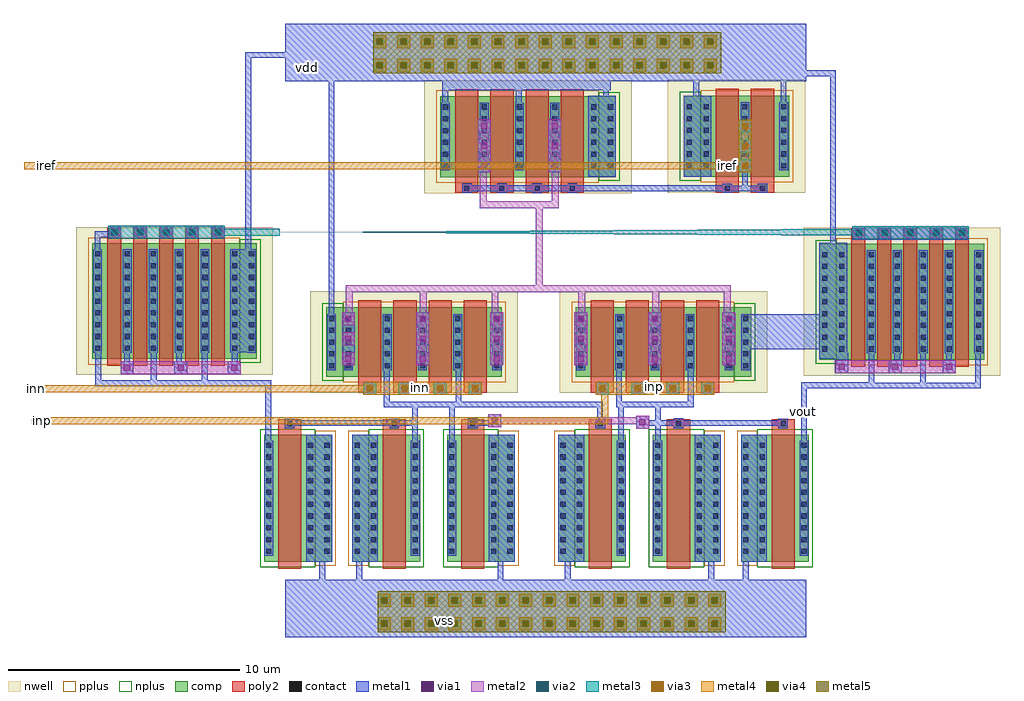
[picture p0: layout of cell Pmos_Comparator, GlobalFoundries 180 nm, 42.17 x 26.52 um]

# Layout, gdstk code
from math import pi, radians
import gdstk
lib = gdstk.Library(unit=1e-6, precision=1e-09)
def R(c, l, rs):  # rectangles x0, y0, x1, y1
    for r in rs: c.add(gdstk.rectangle(r[:2], r[2:], *l))
def A(c, l, x, y, w, h, nx, ny, dx, dy):  # array of equal rectangles
    R(c, l, [(x+i*dx, y+j*dy, x+i*dx+w, y+j*dy+h) for i in range(nx) for j in range(ny)])
nwell = (21, 0)
comp = (22, 0)
poly2 = (30, 0)
pplus = (31, 0)
nplus = (32, 0)
contact = (33, 0)
metal1 = (34, 0)
via1 = (35, 0)
metal2 = (36, 0)
via2 = (38, 0)
via3 = (40, 0)
via4 = (41, 0)
metal3 = (42, 0)
metal4 = (46, 0)
metal5 = (81, 0)

pfet_2 = lib.new_cell('pfet$2')
R(pfet_2, nwell, [(-1.15,-0.69,7.82,3.69)])
R(pfet_2, comp, [(-0.46,0,0,3), (0,0,5.94,3), (5.94,0,6.4,3), (6.4,0,7.13,3)])
A(pfet_2, poly2, 0.19, -0.3, 1, 3.6, 4, 1, 1.52, 0)
A(pfet_2, poly2, 0.19, 3.3, 1, 0.38, 4, 1, 1.52, 0)
R(pfet_2, pplus, [(-0.63,-0.24,6.4,3.24)])
R(pfet_2, nplus, [(6.4,-0.17,7.3,3.17)])
A(pfet_2, contact, -0.34, 0.37, 0.22, 0.22, 1, 5, 0, 0.51)
A(pfet_2, contact, 1.34, 0.37, 0.22, 0.22, 3, 5, 1.52, 0.51)
A(pfet_2, contact, 6.06, 0.37, 0.22, 0.22, 1, 5, 0, 0.51)
A(pfet_2, contact, 6.79, 0.37, 0.22, 0.22, 1, 5, 0, 0.51)
A(pfet_2, contact, 0.58, 3.38, 0.22, 0.22, 4, 1, 1.52, 0)
A(pfet_2, metal1, 1.26, 0.29, 0.38, 2.42, 3, 1, 1.52, 0)
A(pfet_2, metal1, 0.5, 3.299, 0.38, 0.382, 4, 1, 1.52, 0)
R(pfet_2, metal1, [(-0.42,0.29,-0.04,2.71), (5.98,0.29,6.36,2.71), (6.71,0.29,7.09,2.71)])

nfet = lib.new_cell('nfet')
R(nfet, comp, [(-0.42,0,0,5.5), (0,0,1.38,5.5), (1.38,0,1.8,5.5), (1.8,0,2.51,5.5)])
R(nfet, poly2, [(0.19,-0.3,1.19,5.8), (0.19,5.8,1.19,6.16)])
R(nfet, pplus, [(1.8,-0.17,2.68,5.67)])
R(nfet, nplus, [(-0.59,-0.24,1.8,5.74)])
A(nfet, contact, -0.32, 0.345, 0.22, 0.22, 1, 10, 0, 0.51)
A(nfet, contact, 1.48, 0.345, 0.22, 0.22, 1, 10, 0, 0.51)
A(nfet, contact, 2.19, 0.345, 0.22, 0.22, 1, 10, 0, 0.51)
R(nfet, contact, [(0.58,5.87,0.8,6.09)])
R(nfet, metal1, [(-0.4,0.265,-0.02,5.235), (1.4,0.265,1.78,5.235), (2.11,0.265,2.49,5.235), (0.5,5.789,0.88,6.171)])

via_dev = lib.new_cell('via_dev')
R(via_dev, metal1, [(0,0,0.56,0.56)])
R(via_dev, via1, [(0.15,0.15,0.41,0.41)])
R(via_dev, metal2, [(0,0,0.56,0.56)])

pfet_5 = lib.new_cell('pfet$5')
R(pfet_5, nwell, [(-1.15,-0.69,7.34,5.69)])
R(pfet_5, comp, [(-0.46,0,0,5), (0,0,5.46,5), (5.46,0,5.92,5), (5.92,0,6.65,5)])
A(pfet_5, poly2, 0.19, -0.3, 0.6, 5.6, 5, 1, 1.12, 0)
A(pfet_5, poly2, 0.19, 5.3, 0.6, 0.38, 5, 1, 1.12, 0)
R(pfet_5, pplus, [(-0.63,-0.24,5.92,5.24)])
R(pfet_5, nplus, [(5.92,-0.17,6.82,5.17)])
A(pfet_5, contact, -0.34, 0.35, 0.22, 0.22, 1, 9, 0, 0.51)
A(pfet_5, contact, 0.94, 0.35, 0.22, 0.22, 4, 9, 1.12, 0.51)
A(pfet_5, contact, 5.58, 0.35, 0.22, 0.22, 1, 9, 0, 0.51)
A(pfet_5, contact, 6.31, 0.35, 0.22, 0.22, 1, 9, 0, 0.51)
A(pfet_5, contact, 0.38, 5.38, 0.22, 0.22, 5, 1, 1.12, 0)
A(pfet_5, metal1, 0.86, 0.27, 0.38, 4.46, 4, 1, 1.12, 0)
A(pfet_5, metal1, 0.3, 5.299, 0.38, 0.382, 5, 1, 1.12, 0)
R(pfet_5, metal1, [(-0.42,0.27,-0.04,4.73), (5.5,0.27,5.88,4.73), (6.23,0.27,6.61,4.73)])

pfet = lib.new_cell('pfet')
R(pfet, nwell, [(-1.15,-0.69,4.78,4.19)])
R(pfet, comp, [(-0.46,0,0,3.5), (0,0,2.9,3.5), (2.9,0,3.36,3.5), (3.36,0,4.09,3.5)])
R(pfet, poly2, [(0.19,-0.3,1.19,3.8), (1.71,-0.3,2.71,3.8), (0.19,3.8,1.19,4.18), (1.71,3.8,2.71,4.18)])
R(pfet, pplus, [(-0.63,-0.24,3.36,3.74)])
R(pfet, nplus, [(3.36,-0.17,4.26,3.67)])
A(pfet, contact, -0.34, 0.365, 0.22, 0.22, 3, 6, 1.68, 0.51)
A(pfet, contact, 3.75, 0.365, 0.22, 0.22, 1, 6, 0, 0.51)
R(pfet, contact, [(0.58,3.88,0.8,4.1), (2.1,3.88,2.32,4.1)])
A(pfet, metal1, -0.42, 0.285, 0.38, 2.93, 3, 1, 1.68, 0)
R(pfet, metal1, [(3.67,0.285,4.05,3.215), (0.5,3.799,0.88,4.181), (2.02,3.799,2.4,4.181)])

pfet_3 = lib.new_cell('pfet$3')
R(pfet_3, nwell, [(-1.15,-0.69,7.82,4.19)])
R(pfet_3, comp, [(-0.46,0,0,3.5), (0,0,5.94,3.5), (5.94,0,6.4,3.5), (6.4,0,7.13,3.5)])
A(pfet_3, poly2, 0.19, -0.3, 1, 4.1, 4, 1, 1.52, 0)
A(pfet_3, poly2, 0.19, 3.8, 1, 0.38, 4, 1, 1.52, 0)
R(pfet_3, pplus, [(-0.63,-0.24,6.4,3.74)])
R(pfet_3, nplus, [(6.4,-0.17,7.3,3.67)])
A(pfet_3, contact, -0.34, 0.365, 0.22, 0.22, 1, 6, 0, 0.51)
A(pfet_3, contact, 1.34, 0.365, 0.22, 0.22, 3, 6, 1.52, 0.51)
A(pfet_3, contact, 6.06, 0.365, 0.22, 0.22, 1, 6, 0, 0.51)
A(pfet_3, contact, 6.79, 0.365, 0.22, 0.22, 1, 6, 0, 0.51)
A(pfet_3, contact, 0.58, 3.88, 0.22, 0.22, 4, 1, 1.52, 0)
A(pfet_3, metal1, 1.26, 0.285, 0.38, 2.93, 3, 1, 1.52, 0)
A(pfet_3, metal1, 0.5, 3.799, 0.38, 0.382, 4, 1, 1.52, 0)
R(pfet_3, metal1, [(-0.42,0.285,-0.04,3.215), (5.98,0.285,6.36,3.215), (6.71,0.285,7.09,3.215)])

via_dev_1 = lib.new_cell('via_dev$1')
R(via_dev_1, metal1, [(0,0,0.56,0.56)])
R(via_dev_1, via1, [(0.15,0.15,0.41,0.41)])
R(via_dev_1, metal2, [(0,0,0.56,0.56)])
R(via_dev_1, via2, [(0.15,0.15,0.41,0.41)])
R(via_dev_1, via3, [(0.15,0.15,0.41,0.41)])
R(via_dev_1, metal3, [(0,0,0.56,0.56)])
R(via_dev_1, metal4, [(0,0,0.56,0.56)])

via_dev_3 = lib.new_cell('via_dev$3')
R(via_dev_3, metal1, [(0,0,0.56,0.56)])
R(via_dev_3, via1, [(0.15,0.15,0.41,0.41)])
R(via_dev_3, metal2, [(0,0,0.56,0.56)])
R(via_dev_3, via2, [(0.15,0.15,0.41,0.41)])
R(via_dev_3, metal3, [(0,0,0.56,0.56)])

via_dev_5 = lib.new_cell('via_dev$5')
R(via_dev_5, metal1, [(0,0,0.56,0.56)])
R(via_dev_5, via1, [(0.15,0.15,0.41,0.41)])
R(via_dev_5, metal2, [(0,0,0.56,0.56)])
R(via_dev_5, via2, [(0.15,0.15,0.41,0.41)])
R(via_dev_5, via3, [(0.15,0.15,0.41,0.41)])
R(via_dev_5, via4, [(0.15,0.15,0.41,0.41)])
R(via_dev_5, metal3, [(0,0,0.56,0.56)])
R(via_dev_5, metal4, [(0,0,0.56,0.56)])
R(via_dev_5, metal5, [(0,0,0.56,0.56)])

pmos_comparator = lib.new_cell('Pmos_Comparator')
R(pmos_comparator, metal1, [(-10.1,-10.16,12.4,-7.66), (-9.2,-6.9,-8.07,-1.4), (-7.2,-6.9,-6.1,-1.4), (-1.31,-6.9,-0.18,-1.4), (1.69,-6.9,2.82,-1.4), (7.6,-6.9,8.71,-1.4), (9.6,-6.9,10.71,-1.4), (5.055,-1.14,5.615,-0.58), (-2.21,-1.13,-1.78,-0.7), (3.3,-1.13,3.72,-0.71), (6.68,-1.13,7.1,-0.7), (11.2,-1.13,11.62,-0.71), (-10.12,-1.12,-9.71,-0.71), (-5.59,-1.12,-5.19,-0.72), (13.65,1.26,14.22,2.14), (-7.65,1.6,-7.09,3.88), (12.98,1.885,14.17,6.885), (-12.48,2.15,-11.38,6.61), (9.61,2.3,13.4,3.81), (14.39,7.03,19.44,7.6), (0.56,9.025,0.99,9.455), (-2.46,9.045,-2.05,9.455), (-0.95,9.045,-0.53,9.455), (2.1,9.045,2.52,9.455), (8.8,9.05,9.2,9.45), (10.32,9.05,10.72,9.45), (2.99,9.735,4.18,13.235), (7.11,9.74,8.3,13.24), (-3.315,13.48,3.97,14.67), (-10.1,13.86,12.4,16.36)])
R(pmos_comparator, via1, [(5.2,-1,5.46,-0.74)])
A(pmos_comparator, metal2, 2.38, 1.6, 0.56, 2.28, 3, 1, 3.2, 0)
R(pmos_comparator, metal2, [(5.055,-1.14,5.615,-0.58), (-17.22,1.21,-12.02,1.77), (13.66,1.25,18.86,1.81), (-4.45,1.6,-3.89,3.88), (-1.25,1.6,-0.69,3.88), (-1.78,9.94,-1.22,12.22), (1.27,9.94,1.83,12.22)])
R(pmos_comparator, metal3, [(14.39,7.04,19.43,7.6), (-17.76,7.07,-12.72,7.63)])
R(pmos_comparator, metal4, [(-6.74,0.32,-1.61,0.88), (3.32,0.33,8.44,0.89), (9.49,9.93,10.05,12.21)])
R(pmos_comparator, metal5, [(-6.11,-9.93,8.92,-8.16), (-6.29,14.21,8.74,15.98)])
pmos_comparator.add(gdstk.FlexPath([(-13.59,0.82),(-10.84,0.82),(-10.84,-2.755)], 0.25, ends="flush", simple_path=True, layer=34, datatype=0))  # metal1
pmos_comparator.add(gdstk.FlexPath([(16.34,2.28),(16.34,1.4),(16.31,1.4)], 0.25, ends="flush", simple_path=True, layer=34, datatype=0))  # metal1
pmos_comparator.add(gdstk.FlexPath([(17.45,2.19),(17.45,0.725)], 0.25, ends="flush", simple_path=True, layer=34, datatype=0))  # metal1
pmos_comparator.add(gdstk.FlexPath([(19.83,2.095),(19.83,0.725),(15.23,0.725),(15.23,2.095),(15.23,2.095)], 0.25, ends="flush", simple_path=True, layer=34, datatype=0))  # metal1
pmos_comparator.add(gdstk.FlexPath([(19.83,2.095),(19.83,0.725),(15.23,0.725),(15.23,2.095),(15.23,2.095)], 0.25, ends="flush", simple_path=True, layer=34, datatype=0))  # metal1
pmos_comparator.add(gdstk.FlexPath([(13.93,2.095),(13.93,1.585),(13.93,1.325)], 0.25, ends="flush", simple_path=True, layer=34, datatype=0))  # metal1
pmos_comparator.add(gdstk.FlexPath([(-16.94,2.19),(-16.94,1.42)], 0.25, ends="flush", simple_path=True, layer=34, datatype=0))  # metal1
pmos_comparator.add(gdstk.FlexPath([(18.58,2.29),(18.58,1.52)], 0.25, ends="flush", simple_path=True, layer=34, datatype=0))  # metal1
pmos_comparator.add(gdstk.FlexPath([(15.23,2.095),(15.23,2.12),(15.23,2.12)], 0.25, ends="flush", simple_path=True, layer=34, datatype=0))  # metal1
pmos_comparator.add(gdstk.FlexPath([(9.76,9.365),(9.76,10.325)], 0.25, ends="flush", simple_path=True, layer=34, datatype=0))  # metal1
pmos_comparator.add(gdstk.FlexPath([(2.79,13.63),(3.885,13.63)], 0.25, ends="flush", simple_path=True, layer=34, datatype=0))  # metal1
pmos_comparator.add(gdstk.FlexPath([(18.53,2.095),(18.53,2.12)], 0.25, ends="flush", simple_path=True, layer=34, datatype=0))  # metal1
pmos_comparator.add(gdstk.FlexPath([(-15.78,2.19),(-15.78,0.945)], 0.25, ends="flush", simple_path=True, layer=34, datatype=0))  # metal1
pmos_comparator.add(gdstk.FlexPath([(19.83,2.095),(19.83,2.12)], 0.25, ends="flush", simple_path=True, layer=34, datatype=0))  # metal1
pmos_comparator.add(gdstk.FlexPath([(15.23,0.735),(12.31,0.735),(12.31,-2.77)], 0.25, ends="flush", simple_path=True, layer=34, datatype=0))  # metal1
pmos_comparator.add(gdstk.FlexPath([(11.43,12.875),(11.43,14.94)], 0.25, ends="flush", simple_path=True, layer=34, datatype=0))  # metal1
pmos_comparator.add(gdstk.FlexPath([(10.33,9.24),(9.19,9.24),(9.19,9.24)], 0.25, ends="flush", simple_path=True, layer=34, datatype=0))  # metal1
pmos_comparator.add(gdstk.FlexPath([(7.66,12.86),(7.66,14.8)], 0.25, ends="flush", simple_path=True, layer=34, datatype=0))  # metal1
pmos_comparator.add(gdstk.FlexPath([(3.76,13.92),(3.76,12.43)], 0.25, ends="flush", simple_path=True, layer=34, datatype=0))  # metal1
pmos_comparator.add(gdstk.FlexPath([(-2.46,9.25),(9.19,9.25)], 0.25, ends="flush", simple_path=True, layer=34, datatype=0))  # metal1
pmos_comparator.add(gdstk.FlexPath([(-18.28,7.26),(-17.38,7.26)], 0.25, ends="flush", simple_path=True, layer=34, datatype=0))  # metal1
pmos_comparator.add(gdstk.FlexPath([(-12.28,2.19),(-12.28,1.68),(-12.28,1.42)], 0.25, ends="flush", simple_path=True, layer=34, datatype=0))  # metal1
pmos_comparator.add(gdstk.FlexPath([(-3.19,12.835),(-3.19,13.62),(-0.115,13.62),(-0.115,13.62)], 0.25, ends="flush", simple_path=True, layer=34, datatype=0))  # metal1
pmos_comparator.add(gdstk.FlexPath([(-0.01,12.84),(-0.01,13.625),(2.79,13.625),(2.79,13.625)], 0.25, ends="flush", simple_path=True, layer=34, datatype=0))  # metal1
pmos_comparator.add(gdstk.FlexPath([(-14.69,2.34),(-14.69,1.57)], 0.25, ends="flush", simple_path=True, layer=34, datatype=0))  # metal1
pmos_comparator.add(gdstk.FlexPath([(-18.18,2.19),(-18.18,0.82),(-13.58,0.82),(-13.58,2.19),(-13.58,2.19)], 0.25, ends="flush", simple_path=True, layer=34, datatype=0))  # metal1
pmos_comparator.add(gdstk.FlexPath([(-18.18,2.19),(-18.18,0.82),(-13.58,0.82),(-13.58,2.19),(-13.58,2.19)], 0.25, ends="flush", simple_path=True, layer=34, datatype=0))  # metal1
pmos_comparator.add(gdstk.FlexPath([(-18.21,6.52),(-18.21,7.385),(-18.21,7.385)], 0.25, ends="flush", simple_path=True, layer=34, datatype=0))  # metal1
pmos_comparator.add(gdstk.FlexPath([(-11.7,9.2),(-11.7,6.67)], 0.25, ends="flush", simple_path=True, layer=34, datatype=0))  # metal1
pmos_comparator.add(gdstk.FlexPath([(13.56,7.33),(13.56,14.22),(12.18,14.22)], 0.25, ends="flush", simple_path=True, layer=34, datatype=0))  # metal1
pmos_comparator.add(gdstk.FlexPath([(13.56,7.35),(13.56,6.29)], 0.25, ends="flush", simple_path=True, layer=34, datatype=0))  # metal1
pmos_comparator.add(gdstk.FlexPath([(-11.7,6.67),(-11.7,6.25)], 0.25, ends="flush", simple_path=True, layer=34, datatype=0))  # metal1
pmos_comparator.add(gdstk.FlexPath([(-1.81,-0.9),(-1.18,-0.9)], 0.25, ends="flush", simple_path=True, layer=34, datatype=0))  # metal1
pmos_comparator.add(gdstk.FlexPath([(-8.1,3.8),(-8.1,11.275)], 0.25, ends="flush", simple_path=True, layer=34, datatype=0))  # metal1
pmos_comparator.add(gdstk.FlexPath([(4.315,1.39),(4.315,-0.1),(7.415,-0.1),(7.415,1.39),(7.415,1.39)], 0.25, ends="flush", simple_path=True, layer=34, datatype=0))  # metal1
pmos_comparator.add(gdstk.FlexPath([(4.4,-1.64),(4.4,-0.2)], 0.25, ends="flush", simple_path=True, layer=34, datatype=0))  # metal1
pmos_comparator.add(gdstk.FlexPath([(6,-1.665),(6,-0.225)], 0.25, ends="flush", simple_path=True, layer=34, datatype=0))  # metal1
pmos_comparator.add(gdstk.FlexPath([(6.7,-0.9),(6.125,-0.9)], 0.25, ends="flush", simple_path=True, layer=34, datatype=0))  # metal1
pmos_comparator.add(gdstk.FlexPath([(7.08,-0.9),(11.01,-0.9)], 0.25, ends="flush", simple_path=True, layer=34, datatype=0))  # metal1
pmos_comparator.add(gdstk.FlexPath([(-2.9,-1.665),(-2.9,-0.225)], 0.25, ends="flush", simple_path=True, layer=34, datatype=0))  # metal1
pmos_comparator.add(gdstk.FlexPath([(-4.5,-1.665),(-4.5,-0.225)], 0.25, ends="flush", simple_path=True, layer=34, datatype=0))  # metal1
pmos_comparator.add(gdstk.FlexPath([(3.5,-0.74),(3.5,-0.1),(-1.33,-0.1)], 0.25, ends="flush", simple_path=True, layer=34, datatype=0))  # metal1
pmos_comparator.add(gdstk.FlexPath([(-5.2,-0.9),(-4.625,-0.9),(-4.625,-0.9)], 0.25, ends="flush", simple_path=True, layer=34, datatype=0))  # metal1
pmos_comparator.add(gdstk.FlexPath([(-9.52,-0.9),(-5.58,-0.9)], 0.25, ends="flush", simple_path=True, layer=34, datatype=0))  # metal1
pmos_comparator.add(gdstk.FlexPath([(-5.715,1.39),(-5.715,-0.1),(-2.615,-0.1),(-2.615,1.39),(-2.615,1.39)], 0.25, ends="flush", simple_path=True, layer=34, datatype=0))  # metal1
pmos_comparator.add(gdstk.FlexPath([(-1.33,-0.1),(-2.49,-0.1),(-2.49,-0.1)], 0.25, ends="flush", simple_path=True, layer=34, datatype=0))  # metal1
pmos_comparator.add(gdstk.FlexPath([(-8.5,-6.9),(-8.5,-8),(-8.5,-8),(-8.5,-8),(-8.5,-8)], 0.25, ends="flush", simple_path=True, layer=34, datatype=0))  # metal1
pmos_comparator.add(gdstk.FlexPath([(-6.9,-6.9),(-6.9,-8)], 0.25, ends="flush", simple_path=True, layer=34, datatype=0))  # metal1
pmos_comparator.add(gdstk.FlexPath([(-0.8,-6.9),(-0.8,-8)], 0.25, ends="flush", simple_path=True, layer=34, datatype=0))  # metal1
pmos_comparator.add(gdstk.FlexPath([(2.1,-6.9),(2.1,-8)], 0.25, ends="flush", simple_path=True, layer=34, datatype=0))  # metal1
pmos_comparator.add(gdstk.FlexPath([(8.3,-6.9),(8.3,-8)], 0.25, ends="flush", simple_path=True, layer=34, datatype=0))  # metal1
pmos_comparator.add(gdstk.FlexPath([(9.8,-6.9),(9.8,-8)], 0.25, ends="flush", simple_path=True, layer=34, datatype=0))  # metal1
pmos_comparator.add(gdstk.FlexPath([(-9.52,-0.9),(-9.72,-0.9),(-9.72,-0.9),(-9.72,-0.9),(-9.72,-0.9)], 0.25, ends="flush", simple_path=True, layer=34, datatype=0))  # metal1
pmos_comparator.add(gdstk.FlexPath([(11.01,-0.9),(11.22,-0.9)], 0.25, ends="flush", simple_path=True, layer=34, datatype=0))  # metal1
pmos_comparator.add(gdstk.FlexPath([(-8.1,11.275),(-8.1,14)], 0.25, ends="flush", simple_path=True, layer=34, datatype=0))  # metal1
pmos_comparator.add(gdstk.FlexPath([(5.815,-0.9),(5.875,-0.9),(5.875,-0.9)], 0.25, ends="flush", simple_path=True, layer=34, datatype=0))  # metal1
pmos_comparator.add(gdstk.FlexPath([(4.4,-1.64),(4.4,-1.665)], 0.25, ends="flush", simple_path=True, layer=34, datatype=0))  # metal1
pmos_comparator.add(gdstk.FlexPath([(5.815,-0.9),(5.615,-0.9),(5.615,-0.9)], 0.25, ends="flush", simple_path=True, layer=34, datatype=0))  # metal1
pmos_comparator.add(gdstk.FlexPath([(-11.7,9.2),(-11.7,15),(-9.8,15),(-9.8,15)], 0.25, ends="flush", simple_path=True, layer=34, datatype=0))  # metal1
pmos_comparator.add(gdstk.FlexPath([(14.96,7.34),(-10.385,7.34),(-10.345,7.34)], 0.3, ends="flush", simple_path=True, layer=42, datatype=0))  # metal3
pmos_comparator.add(gdstk.FlexPath([(-10.34,7.34),(-14.43,7.34)], 0.3, ends="flush", simple_path=True, layer=42, datatype=0))  # metal3
pmos_comparator.add(gdstk.FlexPath([(-1.545,9.735),(-1.545,10.07)], 0.3, ends="flush", simple_path=True, layer=36, datatype=0))  # metal2
pmos_comparator.add(gdstk.FlexPath([(1.555,9.47),(1.555,10.095)], 0.3, ends="flush", simple_path=True, layer=36, datatype=0))  # metal2
pmos_comparator.add(gdstk.FlexPath([(1.555,9.495),(1.555,8.535),(-1.545,8.535),(-1.545,9.735)], 0.3, ends="flush", simple_path=True, layer=36, datatype=0))  # metal2
pmos_comparator.add(gdstk.FlexPath([(0.88,4.9),(0.88,8.685)], 0.3, ends="flush", simple_path=True, layer=36, datatype=0))  # metal2
pmos_comparator.add(gdstk.FlexPath([(2.7,3.8),(2.7,4.9),(5.9,4.9),(5.9,3.81),(5.9,3.8)], 0.3, ends="flush", simple_path=True, layer=36, datatype=0))  # metal2
pmos_comparator.add(gdstk.FlexPath([(6.025,4.9),(9,4.9),(9,3.81)], 0.3, ends="flush", simple_path=True, layer=36, datatype=0))  # metal2
pmos_comparator.add(gdstk.FlexPath([(0.245,4.9),(-0.89,4.9)], 0.3, ends="flush", simple_path=True, layer=36, datatype=0))  # metal2
pmos_comparator.add(gdstk.FlexPath([(-4.015,4.9),(-1.04,4.9),(-1.04,3.81)], 0.3, ends="flush", simple_path=True, layer=36, datatype=0))  # metal2
pmos_comparator.add(gdstk.FlexPath([(0.245,4.9),(2.575,4.9),(2.575,4.9)], 0.3, ends="flush", simple_path=True, layer=36, datatype=0))  # metal2
pmos_comparator.add(gdstk.FlexPath([(-1,-0.8),(5.055,-0.8)], 0.3, ends="flush", simple_path=True, layer=36, datatype=0))  # metal2
pmos_comparator.add(gdstk.FlexPath([(-7.34,3.8),(-7.34,4.9),(-4.14,4.9),(-4.14,3.81),(-4.14,3.8)], 0.3, ends="flush", simple_path=True, layer=36, datatype=0))  # metal2
pmos_comparator.add(gdstk.FlexPath([(9.76,10.21),(-21.39,10.21)], 0.3, ends="flush", simple_path=True, layer=46, datatype=0))  # metal4
pmos_comparator.add(gdstk.FlexPath([(-6.56,0.59),(-21.22,0.59)], 0.3, ends="flush", simple_path=True, layer=46, datatype=0))  # metal4
pmos_comparator.add(gdstk.FlexPath([(3.7,0.62),(3.7,-0.8),(-21.07,-0.8)], 0.3, ends="flush", simple_path=True, layer=46, datatype=0))  # metal4
pmos_comparator.add(gdstk.Reference(pfet_2, (2.9,4.1), x_reflection=True))
pmos_comparator.add(gdstk.Reference(nfet, (-10.6,-6.9)))
pmos_comparator.add(gdstk.Reference(nfet, (-4.7,-6.9), rotation=pi, x_reflection=True))
pmos_comparator.add(gdstk.Reference(nfet, (4.2,-6.9), rotation=pi, x_reflection=True))
pmos_comparator.add(gdstk.Reference(nfet, (6.2,-6.9)))
pmos_comparator.add(gdstk.Reference(nfet, (12.1,-6.9), rotation=pi, x_reflection=True))
pmos_comparator.add(gdstk.Reference(nfet, (-2.69,-6.9)))
pmos_comparator.add(gdstk.Reference(via_dev, (-1.33,-1.07)))
pmos_comparator.add(gdstk.Reference(pfet_2, (-1.2,4.1), rotation=pi))
pmos_comparator.add(gdstk.Reference(pfet_5, (19.63,1.84), rotation=pi, x_reflection=True))
pmos_comparator.add(gdstk.Reference(pfet, (11.21,13.24), rotation=pi))
pmos_comparator.add(gdstk.Reference(pfet_3, (-2.95,13.23), x_reflection=True))
pmos_comparator.add(gdstk.Reference(via_dev_1, (-6.74,0.32)))
pmos_comparator.add(gdstk.Reference(via_dev_1, (-5.21,0.32)))
pmos_comparator.add(gdstk.Reference(via_dev_1, (-3.69,0.32)))
pmos_comparator.add(gdstk.Reference(via_dev_1, (-2.17,0.32)))
r = gdstk.Reference(via_dev_3, (-17.76,7.07)); r.repetition = gdstk.Repetition(5, 1, v1=(1.12,0), v2=(0,0)); pmos_comparator.add(r)
r = gdstk.Reference(via_dev_1, (3.32,0.33)); r.repetition = gdstk.Repetition(4, 1, v1=(1.52,0), v2=(0,0)); pmos_comparator.add(r)
r = gdstk.Reference(via_dev, (13.66,1.25)); r.repetition = gdstk.Repetition(3, 1, v1=(2.32,0), v2=(0,0)); pmos_comparator.add(r)
r = gdstk.Reference(via_dev_3, (14.39,7.04)); r.repetition = gdstk.Repetition(5, 1, v1=(1.12,0), v2=(0,0)); pmos_comparator.add(r)
r = gdstk.Reference(via_dev, (-17.22,1.21)); r.repetition = gdstk.Repetition(3, 1, v1=(2.32,0), v2=(0,0)); pmos_comparator.add(r)
pmos_comparator.add(gdstk.Reference(pfet_5, (-17.98,1.87)))
r = gdstk.Reference(via_dev, (-7.65,1.6)); r.repetition = gdstk.Repetition(3, 3, v1=(3.2,0), v2=(0,0.86)); pmos_comparator.add(r)
r = gdstk.Reference(via_dev, (2.38,1.6)); r.repetition = gdstk.Repetition(3, 3, v1=(3.2,0), v2=(0,0.86)); pmos_comparator.add(r)
r = gdstk.Reference(via_dev_1, (9.49,9.93)); r.repetition = gdstk.Repetition(1, 3, v1=(0,0), v2=(0,0.86)); pmos_comparator.add(r)
r = gdstk.Reference(via_dev, (-1.78,9.94)); r.repetition = gdstk.Repetition(2, 3, v1=(3.05,0), v2=(0,0.86)); pmos_comparator.add(r)
r = gdstk.Reference(via_dev_5, (-6.29,14.28)); r.repetition = gdstk.Repetition(15, 2, v1=(1.02,0), v2=(0,1.02)); pmos_comparator.add(r)
r = gdstk.Reference(via_dev_5, (-6.11,-9.86)); r.repetition = gdstk.Repetition(15, 2, v1=(1.02,0), v2=(0,1.02)); pmos_comparator.add(r)
pmos_comparator.add(gdstk.Label('vout', (12.3,-0.39), layer=34, texttype=10))
pmos_comparator.add(gdstk.Label('vdd', (-9.16,14.45), layer=34, texttype=10))
pmos_comparator.add(gdstk.Label('vss', (-3.2,-9.45), layer=34, texttype=10))
pmos_comparator.add(gdstk.Label('iref', (-20.42,10.21), layer=46, texttype=10))
pmos_comparator.add(gdstk.Label('iref', (9.01,10.23), layer=46, texttype=10))
pmos_comparator.add(gdstk.Label('inn', (-4.28,0.62), layer=46, texttype=10))
pmos_comparator.add(gdstk.Label('inn', (-20.84,0.61), layer=46, texttype=10))
pmos_comparator.add(gdstk.Label('inp', (5.85,0.67), layer=46, texttype=10))
pmos_comparator.add(gdstk.Label('inp', (-20.6,-0.79), layer=46, texttype=10))

lib.write_gds('Pmos_Comparator.gds')
